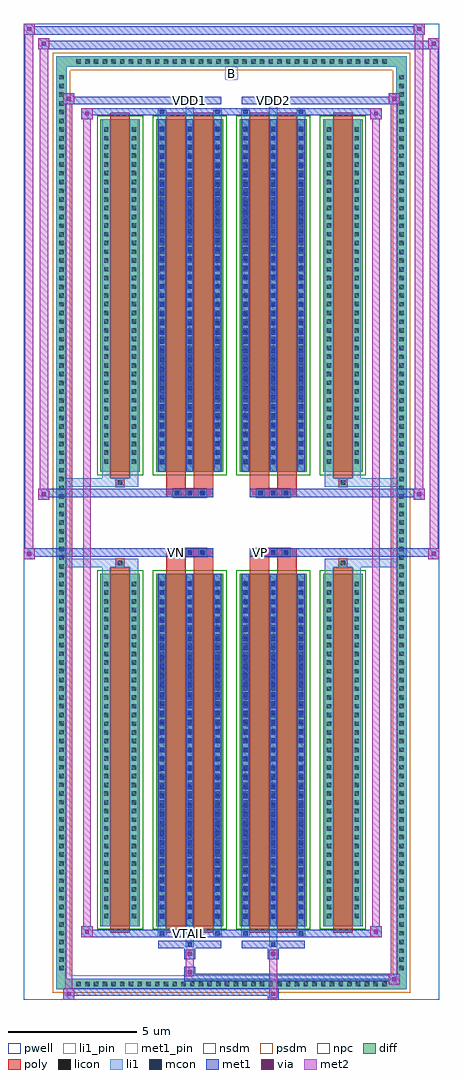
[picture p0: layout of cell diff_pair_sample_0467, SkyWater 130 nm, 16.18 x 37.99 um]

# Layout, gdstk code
import gdstk
lib = gdstk.Library(unit=1e-6, precision=5e-09)
def R(c, l, rs):  # rectangles x0, y0, x1, y1
    for r in rs: c.add(gdstk.rectangle(r[:2], r[2:], *l))
def A(c, l, x, y, w, h, nx, ny, dx, dy):  # array of equal rectangles
    R(c, l, [(x+i*dx, y+j*dy, x+i*dx+w, y+j*dy+h) for i in range(nx) for j in range(ny)])
def P(c, l, *ps):  # polygons
    for p in ps: c.add(gdstk.Polygon(p, *l))
pwell = (64, 44)
diff = (65, 20)
poly = (66, 20)
licon = (66, 44)
li1_pin = (67, 16)
li1 = (67, 20)
mcon = (67, 44)
met1_pin = (68, 16)
met1 = (68, 20)
via = (68, 44)
met2 = (69, 20)
nsdm = (93, 44)
psdm = (94, 20)
npc = (95, 20)

diff_pair_sample_0467 = lib.new_cell('diff_pair_sample_0467')
R(diff_pair_sample_0467, pwell, [(-8.09,-18.56,8.09,19.43), (-5.41,-16.75,-0.01,-0.795), (0.01,-16.75,5.41,-0.795), (-5.41,0.795,-0.01,16.75), (0.01,0.795,5.41,16.75)])
A(diff_pair_sample_0467, diff, -6.155, -18.16, 0.41, 0.41, 36, 2, 0.34, 35.91)
A(diff_pair_sample_0467, diff, -6.82, -17.545, 0.41, 0.41, 1, 103, 0, 0.34)
A(diff_pair_sample_0467, diff, 6.41, -17.545, 0.41, 0.41, 1, 103, 0, 0.34)
R(diff_pair_sample_0467, diff, [(-6.155,-18.16,6.155,-17.75), (-6.82,-17.545,-6.41,17.545), (6.41,-17.545,6.82,17.545), (-5.1,-15.705,-3.57,-1.985), (-2.93,-15.705,-0.32,-1.985), (0.32,-15.705,2.93,-1.985), (3.57,-15.705,5.1,-1.985), (-5.1,1.985,-3.57,15.705), (-2.93,1.985,-0.32,15.705), (0.32,1.985,2.93,15.705), (3.57,1.985,5.1,15.705), (-6.155,17.75,6.155,18.16)])
P(diff_pair_sample_0467, diff, [(6.82,18.16),(-6.82,18.16),(-6.82,-17.75),(-6.41,-17.75),(-6.41,17.75),(6.41,17.75),(6.41,-17.75),(-6.41,-17.75),(-6.82,-17.75),(-6.82,-18.16),(6.82,-18.16)])
A(diff_pair_sample_0467, poly, -2.29, -1.325, 0.33, 0.33, 3, 2, 0.5, 2.32)
A(diff_pair_sample_0467, poly, 0.96, -1.325, 0.33, 0.33, 3, 2, 0.5, 2.32)
R(diff_pair_sample_0467, poly, [(-4.71,-15.955,-3.96,-1.735), (-2.54,-15.955,-1.79,-1.735), (-1.46,-15.955,-0.71,-1.735), (0.71,-15.955,1.46,-1.735), (1.79,-15.955,2.54,-1.735), (3.96,-15.955,4.71,-1.735), (-4.5,-1.735,-4.17,-1.405), (-4.5,-1.735,-4.17,-1.405), (-2.54,-1.735,-1.79,-1.325), (-1.46,-1.735,-0.71,-1.325), (0.71,-1.735,1.46,-1.325), (1.79,-1.735,2.54,-1.325), (4.17,-1.735,4.5,-1.405), (4.17,-1.735,4.5,-1.405), (-2.54,-1.325,-0.71,-0.995), (0.71,-1.325,2.54,-0.995), (-2.54,0.995,-0.71,1.325), (0.71,0.995,2.54,1.325), (-2.54,1.325,-1.79,1.735), (-1.46,1.325,-0.71,1.735), (0.71,1.325,1.46,1.735), (1.79,1.325,2.54,1.735), (-4.5,1.405,-4.17,1.735), (-4.5,1.405,-4.17,1.735), (4.17,1.405,4.5,1.735), (4.17,1.405,4.5,1.735), (-4.71,1.735,-3.96,15.955), (-2.54,1.735,-1.79,15.955), (-1.46,1.735,-0.71,15.955), (0.71,1.735,1.46,15.955), (1.79,1.735,2.54,15.955), (3.96,1.735,4.71,15.955)])
A(diff_pair_sample_0467, licon, -6.035, -18.04, 0.17, 0.17, 36, 2, 0.34, 35.91)
A(diff_pair_sample_0467, licon, -6.7, -17.425, 0.17, 0.17, 1, 103, 0, 0.34)
A(diff_pair_sample_0467, licon, 6.53, -17.425, 0.17, 0.17, 1, 103, 0, 0.34)
A(diff_pair_sample_0467, licon, -4.96, -15.39, 0.17, 0.17, 1, 39, 0, 0.34)
A(diff_pair_sample_0467, licon, -3.88, -15.39, 0.17, 0.17, 1, 39, 0, 0.34)
A(diff_pair_sample_0467, licon, -2.79, -15.39, 0.17, 0.17, 3, 39, 1.08, 0.34)
A(diff_pair_sample_0467, licon, 0.46, -15.39, 0.17, 0.17, 3, 39, 1.08, 0.34)
A(diff_pair_sample_0467, licon, 3.71, -15.39, 0.17, 0.17, 1, 39, 0, 0.34)
A(diff_pair_sample_0467, licon, 4.79, -15.39, 0.17, 0.17, 1, 39, 0, 0.34)
A(diff_pair_sample_0467, licon, -2.21, -1.245, 0.17, 0.17, 3, 2, 0.5, 2.32)
A(diff_pair_sample_0467, licon, 1.04, -1.245, 0.17, 0.17, 3, 2, 0.5, 2.32)
A(diff_pair_sample_0467, licon, -4.96, 2.3, 0.17, 0.17, 1, 39, 0, 0.34)
A(diff_pair_sample_0467, licon, -3.88, 2.3, 0.17, 0.17, 1, 39, 0, 0.34)
A(diff_pair_sample_0467, licon, -2.79, 2.3, 0.17, 0.17, 3, 39, 1.08, 0.34)
A(diff_pair_sample_0467, licon, 0.46, 2.3, 0.17, 0.17, 3, 39, 1.08, 0.34)
A(diff_pair_sample_0467, licon, 3.71, 2.3, 0.17, 0.17, 1, 39, 0, 0.34)
A(diff_pair_sample_0467, licon, 4.79, 2.3, 0.17, 0.17, 1, 39, 0, 0.34)
R(diff_pair_sample_0467, licon, [(-4.42,-1.655,-4.25,-1.485), (4.25,-1.655,4.42,-1.485), (-4.42,1.485,-4.25,1.655), (4.25,1.485,4.42,1.655)])
R(diff_pair_sample_0467, li1_pin, [(-0.25,17.25,0.25,17.75)])
A(diff_pair_sample_0467, li1, -6.115, -18.12, 0.33, 0.33, 36, 2, 0.34, 35.91)
A(diff_pair_sample_0467, li1, -6.78, -17.505, 0.33, 0.33, 1, 103, 0, 0.34)
A(diff_pair_sample_0467, li1, 6.45, -17.505, 0.33, 0.33, 1, 103, 0, 0.34)
A(diff_pair_sample_0467, li1, -2.87, -15.705, 0.33, 13.72, 3, 2, 1.08, 17.69)
A(diff_pair_sample_0467, li1, 0.38, -15.705, 0.33, 13.72, 3, 2, 1.08, 17.69)
A(diff_pair_sample_0467, li1, -5.04, -15.47, 0.33, 0.33, 1, 39, 0, 0.34)
A(diff_pair_sample_0467, li1, -3.96, -15.47, 0.33, 0.33, 1, 39, 0, 0.34)
A(diff_pair_sample_0467, li1, -2.87, -15.47, 0.33, 0.33, 3, 39, 1.08, 0.34)
A(diff_pair_sample_0467, li1, 0.38, -15.47, 0.33, 0.33, 3, 39, 1.08, 0.34)
A(diff_pair_sample_0467, li1, 3.63, -15.47, 0.33, 0.33, 1, 39, 0, 0.34)
A(diff_pair_sample_0467, li1, 4.71, -15.47, 0.33, 0.33, 1, 39, 0, 0.34)
A(diff_pair_sample_0467, li1, -2.79, -15.41, 0.17, 0.17, 3, 37, 1.08, 0.36)
A(diff_pair_sample_0467, li1, -2.79, -15.41, 0.17, 13.13, 3, 2, 1.08, 17.69)
A(diff_pair_sample_0467, li1, 0.46, -15.41, 0.17, 0.17, 3, 37, 1.08, 0.36)
A(diff_pair_sample_0467, li1, 0.46, -15.41, 0.17, 13.13, 3, 2, 1.08, 17.69)
A(diff_pair_sample_0467, li1, -2.29, -1.325, 0.33, 0.33, 3, 2, 0.5, 2.32)
A(diff_pair_sample_0467, li1, 0.96, -1.325, 0.33, 0.33, 3, 2, 0.5, 2.32)
A(diff_pair_sample_0467, li1, -5.04, 2.22, 0.33, 0.33, 1, 39, 0, 0.34)
A(diff_pair_sample_0467, li1, -3.96, 2.22, 0.33, 0.33, 1, 39, 0, 0.34)
A(diff_pair_sample_0467, li1, -2.87, 2.22, 0.33, 0.33, 3, 39, 1.08, 0.34)
A(diff_pair_sample_0467, li1, 0.38, 2.22, 0.33, 0.33, 3, 39, 1.08, 0.34)
A(diff_pair_sample_0467, li1, 3.63, 2.22, 0.33, 0.33, 1, 39, 0, 0.34)
A(diff_pair_sample_0467, li1, 4.71, 2.22, 0.33, 0.33, 1, 39, 0, 0.34)
A(diff_pair_sample_0467, li1, -2.79, 2.28, 0.17, 0.17, 3, 37, 1.08, 0.36)
A(diff_pair_sample_0467, li1, 0.46, 2.28, 0.17, 0.17, 3, 37, 1.08, 0.36)
R(diff_pair_sample_0467, li1, [(-6.82,-18.16,-6.41,-17.75), (-6.82,-18.16,-6.41,-17.75), (-6.41,-18.16,6.41,-17.75), (6.41,-18.16,6.82,-17.75), (6.41,-18.16,6.82,-17.75), (-6.82,-17.75,-6.41,17.75), (6.41,-17.75,6.82,17.75), (-1.79,-16.51,-1.46,-15.705), (-1.71,-16.51,-1.54,-16.34), (1.46,-16.51,1.79,-15.705), (1.54,-16.51,1.71,-16.34), (-2.87,-16.08,-2.54,-15.705), (-2.79,-16.08,-2.62,-15.91), (-0.71,-16.08,-0.38,-15.705), (-0.63,-16.08,-0.46,-15.91), (0.38,-16.08,0.71,-15.705), (0.46,-16.08,0.63,-15.91), (2.54,-16.08,2.87,-15.705), (2.62,-16.08,2.79,-15.91), (-5.04,-15.705,-4.71,-1.985), (-3.96,-15.705,-3.63,-1.985), (3.63,-15.705,3.96,-1.985), (4.71,-15.705,5.04,-1.985), (-5.04,-1.985,-4.71,-1.405), (-3.96,-1.985,-3.63,-1.405), (3.63,-1.985,3.96,-1.405), (4.71,-1.985,5.04,-1.405), (-6.82,-1.735,-4.5,-1.405), (-5.04,-1.735,-4.5,-1.405), (-4.5,-1.735,-4.17,-1.405), (-4.17,-1.735,-3.63,-1.405), (3.63,-1.735,4.17,-1.405), (4.17,-1.735,4.5,-1.405), (4.17,-1.735,6.82,-1.405), (4.5,-1.735,5.04,-1.405), (-6.82,1.405,-4.5,1.735), (-5.04,1.405,-4.5,1.735), (-5.04,1.405,-4.71,1.985), (-4.5,1.405,-4.17,1.735), (-4.17,1.405,-3.63,1.735), (-3.96,1.405,-3.63,1.985), (3.63,1.405,4.17,1.735), (3.63,1.405,3.96,1.985), (4.17,1.405,4.5,1.735), (4.17,1.405,6.82,1.735), (4.5,1.405,5.04,1.735), (4.71,1.405,5.04,1.985), (-5.04,1.985,-4.71,15.705), (-3.96,1.985,-3.63,15.705), (3.63,1.985,3.96,15.705), (4.71,1.985,5.04,15.705), (-2.87,15.705,-2.54,16.08), (-1.79,15.705,-1.46,16.51), (-0.71,15.705,-0.38,16.08), (0.38,15.705,0.71,16.08), (1.46,15.705,1.79,16.51), (2.54,15.705,2.87,16.08), (-2.79,15.91,-2.62,16.08), (-0.63,15.91,-0.46,16.08), (0.46,15.91,0.63,16.08), (2.62,15.91,2.79,16.08), (-1.71,16.34,-1.54,16.51), (1.54,16.34,1.71,16.51), (-6.82,17.75,-6.41,18.16), (-6.82,17.75,-6.41,18.16), (-6.41,17.75,6.41,18.16), (6.41,17.75,6.82,18.16), (6.41,17.75,6.82,18.16)])
A(diff_pair_sample_0467, mcon, -2.79, -15.41, 0.17, 0.17, 3, 37, 1.08, 0.36)
A(diff_pair_sample_0467, mcon, 0.46, -15.41, 0.17, 0.17, 3, 37, 1.08, 0.36)
A(diff_pair_sample_0467, mcon, -2.21, -1.245, 0.17, 0.17, 3, 2, 0.5, 2.32)
A(diff_pair_sample_0467, mcon, 1.04, -1.245, 0.17, 0.17, 3, 2, 0.5, 2.32)
A(diff_pair_sample_0467, mcon, -2.79, 2.28, 0.17, 0.17, 3, 37, 1.08, 0.36)
A(diff_pair_sample_0467, mcon, 0.46, 2.28, 0.17, 0.17, 3, 37, 1.08, 0.36)
R(diff_pair_sample_0467, mcon, [(-1.71,-16.51,-1.54,-16.34), (1.54,-16.51,1.71,-16.34), (-2.79,-16.08,-2.62,-15.91), (-0.63,-16.08,-0.46,-15.91), (0.46,-16.08,0.63,-15.91), (2.62,-16.08,2.79,-15.91), (-2.79,15.91,-2.62,16.08), (-0.63,15.91,-0.46,16.08), (0.46,15.91,0.63,16.08), (2.62,15.91,2.79,16.08), (-1.71,16.34,-1.54,16.51), (1.54,16.34,1.71,16.51)])
R(diff_pair_sample_0467, met1_pin, [(-1.76,-16.12,-1.49,-15.85), (-2.26,-1.285,-1.99,-1.015), (0.99,-1.285,1.26,-1.015), (-1.76,16.3,-1.49,16.57), (1.49,16.3,1.76,16.57)])
A(diff_pair_sample_0467, met1, -2.85, -15.705, 0.29, 13.72, 3, 2, 1.08, 17.69)
A(diff_pair_sample_0467, met1, 0.4, -15.705, 0.29, 13.72, 3, 2, 1.08, 17.69)
A(diff_pair_sample_0467, met1, -2.85, -15.47, 0.29, 0.29, 3, 37, 1.08, 0.36)
A(diff_pair_sample_0467, met1, 0.4, -15.47, 0.29, 0.29, 3, 37, 1.08, 0.36)
A(diff_pair_sample_0467, met1, -2.27, -1.305, 0.29, 0.29, 3, 2, 0.5, 2.32)
A(diff_pair_sample_0467, met1, 0.98, -1.305, 0.29, 0.29, 3, 2, 0.5, 2.32)
A(diff_pair_sample_0467, met1, -2.85, 2.22, 0.29, 0.29, 3, 37, 1.08, 0.36)
A(diff_pair_sample_0467, met1, 0.4, 2.22, 0.29, 0.29, 3, 37, 1.08, 0.36)
R(diff_pair_sample_0467, met1, [(-6.55,-18.56,-6.12,-18.13), (1.41,-18.56,1.84,-18.13), (-6.55,-18.42,1.84,-18.13), (6.12,-17.99,6.55,-17.56), (-1.84,-17.85,6.55,-17.56), (-1.84,-17.71,-1.41,-17.28), (-1.84,-17,-1.41,-16.57), (1.41,-17,1.84,-16.57), (-2.85,-16.57,-0.4,-16.28), (-1.77,-16.57,-1.48,-16.28), (0.4,-16.57,2.85,-16.28), (1.48,-16.57,1.77,-16.28), (-5.84,-16.14,-5.41,-15.71), (-5.84,-16.14,-2.85,-15.85), (-2.85,-16.14,-2.56,-15.85), (-2.85,-16.14,-0.4,-15.85), (-0.69,-16.14,-0.4,-15.85), (-0.4,-16.14,0.4,-15.85), (0.4,-16.14,0.69,-15.85), (0.4,-16.14,2.85,-15.85), (2.56,-16.14,2.85,-15.85), (2.85,-16.14,5.84,-15.85), (5.41,-16.14,5.84,-15.71), (-8.09,-1.425,-7.66,-0.995), (7.66,-1.425,8.09,-0.995), (-8.09,-1.325,-0.71,-0.995), (-2.54,-1.325,-0.71,-0.995), (0.71,-1.325,2.54,-0.995), (0.71,-1.325,8.09,-0.995), (-7.52,0.895,-7.09,1.325), (7.09,0.895,7.52,1.325), (-7.52,0.995,-2.54,1.325), (-2.54,0.995,-0.71,1.325), (0.71,0.995,2.54,1.325), (2.54,0.995,7.52,1.325), (-5.84,15.71,-5.41,16.14), (5.41,15.71,5.84,16.14), (-5.84,15.85,-2.85,16.14), (-2.85,15.85,-2.56,16.14), (-2.85,15.85,-0.4,16.14), (-0.69,15.85,-0.4,16.14), (-0.4,15.85,0.4,16.14), (0.4,15.85,0.69,16.14), (0.4,15.85,2.85,16.14), (2.56,15.85,2.85,16.14), (2.85,15.85,5.84,16.14), (-6.55,16.28,-6.12,16.71), (-6.55,16.28,-2.85,16.57), (-2.85,16.28,-0.4,16.57), (-1.77,16.28,-1.48,16.57), (0.4,16.28,2.85,16.57), (1.48,16.28,1.77,16.57), (2.85,16.28,6.55,16.57), (6.12,16.28,6.55,16.71), (-7.52,18.43,-7.09,18.86), (-7.52,18.43,-5.41,18.76), (-5.41,18.43,5.41,18.76), (5.41,18.43,8.09,18.76), (7.66,18.43,8.09,18.86), (-8.09,19,-7.66,19.43), (-8.09,19,-5.41,19.33), (-5.41,19,5.41,19.33), (5.41,19,7.52,19.33), (7.09,19,7.52,19.43)])
R(diff_pair_sample_0467, via, [(-6.41,-18.42,-6.26,-18.27), (1.55,-18.42,1.7,-18.27), (6.26,-17.85,6.41,-17.7), (-1.7,-17.57,-1.55,-17.42), (-1.7,-16.86,-1.55,-16.71), (1.55,-16.86,1.7,-16.71), (-5.7,-16,-5.55,-15.85), (5.55,-16,5.7,-15.85), (-7.95,-1.285,-7.8,-1.135), (7.8,-1.285,7.95,-1.135), (-7.38,1.035,-7.23,1.185), (7.23,1.035,7.38,1.185), (-5.7,15.85,-5.55,16), (5.55,15.85,5.7,16), (-6.41,16.42,-6.26,16.57), (6.26,16.42,6.41,16.57), (-7.38,18.57,-7.23,18.72), (7.8,18.57,7.95,18.72), (-7.95,19.14,-7.8,19.29), (7.23,19.14,7.38,19.29)])
R(diff_pair_sample_0467, met2, [(-6.55,-18.56,-6.12,-18.13), (-6.48,-18.56,-6.19,16.71), (-6.19,-18.56,-6.12,-18.13), (-6.5,-18.51,-6.17,-18.18), (1.46,-18.51,1.79,-18.18), (1.46,-18.18,1.79,-16.95), (6.12,-17.99,6.55,-17.56), (6.19,-17.99,6.48,16.71), (6.48,-17.99,6.55,-17.56), (6.17,-17.94,6.5,-17.61), (-1.79,-17.66,-1.46,-17.33), (-1.79,-17.33,-1.46,-16.95), (-1.79,-16.95,-1.46,-16.62), (1.46,-16.95,1.79,-16.62), (-5.84,-16.14,-5.41,-15.71), (-5.77,-16.14,-5.48,16.14), (-5.48,-16.14,-5.41,-15.71), (5.41,-16.14,5.84,-15.71), (5.48,-16.14,5.77,16.14), (5.77,-16.14,5.84,-15.71), (-5.79,-16.09,-5.46,-15.76), (5.46,-16.09,5.79,-15.76), (-8.09,-1.425,-7.66,-0.995), (-8.04,-1.425,-7.71,19.43), (-7.71,-1.425,-7.66,-0.995), (7.66,-1.425,8.09,-0.995), (7.71,-1.425,8.04,18.86), (8.04,-1.425,8.09,-0.995), (-8.04,-1.375,-7.71,-1.045), (7.71,-1.375,8.04,-1.045), (-7.52,0.895,-7.09,1.325), (-7.47,0.895,-7.14,18.86), (-7.14,0.895,-7.09,1.325), (7.09,0.895,7.52,1.325), (7.14,0.895,7.47,19.43), (7.47,0.895,7.52,1.325), (-7.47,0.945,-7.14,1.275), (7.14,0.945,7.47,1.275), (-5.84,15.71,-5.41,16.14), (-5.48,15.71,-5.41,16.14), (5.41,15.71,5.84,16.14), (5.77,15.71,5.84,16.14), (-5.79,15.76,-5.46,16.09), (5.46,15.76,5.79,16.09), (-6.55,16.28,-6.12,16.71), (-6.19,16.28,-6.12,16.71), (6.12,16.28,6.55,16.71), (6.48,16.28,6.55,16.71), (-6.5,16.33,-6.17,16.66), (6.17,16.33,6.5,16.66), (-7.52,18.43,-7.09,18.86), (-7.14,18.43,-7.09,18.86), (7.66,18.43,8.09,18.86), (8.04,18.43,8.09,18.86), (-7.47,18.48,-7.14,18.81), (7.71,18.48,8.04,18.81), (-8.09,19,-7.66,19.43), (-7.71,19,-7.66,19.43), (7.09,19,7.52,19.43), (7.47,19,7.52,19.43), (-8.04,19.05,-7.71,19.38), (7.14,19.05,7.47,19.38)])
R(diff_pair_sample_0467, nsdm, [(-5.23,-15.835,-3.44,-1.855), (-3.06,-15.835,-0.19,-1.855), (0.19,-15.835,3.06,-1.855), (3.44,-15.835,5.23,-1.855), (-5.23,1.855,-3.44,15.835), (-3.06,1.855,-0.19,15.835), (0.19,1.855,3.06,15.835), (3.44,1.855,5.23,15.835)])
P(diff_pair_sample_0467, psdm, [(6.95,18.29),(-6.95,18.29),(-6.95,-17.62),(-6.28,-17.62),(-6.28,17.62),(6.28,17.62),(6.28,-17.62),(-6.28,-17.62),(-6.95,-17.62),(-6.95,-18.29),(6.95,-18.29)])
A(diff_pair_sample_0467, npc, -2.31, -1.345, 0.37, 0.37, 3, 2, 0.5, 2.32)
A(diff_pair_sample_0467, npc, 0.94, -1.345, 0.37, 0.37, 3, 2, 0.5, 2.32)
R(diff_pair_sample_0467, npc, [(-4.52,-1.755,-4.15,-1.385), (4.15,-1.755,4.52,-1.385), (-2.31,-1.345,-1.44,-0.975), (-2.31,-1.345,-1.44,-0.975), (-1.81,-1.345,-0.94,-0.975), (-1.81,-1.345,-0.94,-0.975), (0.94,-1.345,1.81,-0.975), (0.94,-1.345,1.81,-0.975), (1.44,-1.345,2.31,-0.975), (1.44,-1.345,2.31,-0.975), (-2.31,0.975,-1.44,1.345), (-2.31,0.975,-1.44,1.345), (-1.81,0.975,-0.94,1.345), (-1.81,0.975,-0.94,1.345), (0.94,0.975,1.81,1.345), (0.94,0.975,1.81,1.345), (1.44,0.975,2.31,1.345), (1.44,0.975,2.31,1.345), (-4.52,1.385,-4.15,1.755), (4.15,1.385,4.52,1.755)])
diff_pair_sample_0467.add(gdstk.Label('VTAIL', (-1.625,-15.985), layer=68, texttype=5))
diff_pair_sample_0467.add(gdstk.Label('VN', (-2.125,-1.15), layer=68, texttype=5))
diff_pair_sample_0467.add(gdstk.Label('VP', (1.125,-1.15), layer=68, texttype=5))
diff_pair_sample_0467.add(gdstk.Label('B', (0,17.5), layer=67, texttype=5))
diff_pair_sample_0467.add(gdstk.Label('VDD2', (1.625,16.435), layer=68, texttype=5))
diff_pair_sample_0467.add(gdstk.Label('VDD1', (-1.625,16.435), layer=68, texttype=5))

lib.write_gds('diff_pair_sample_0467.gds')
